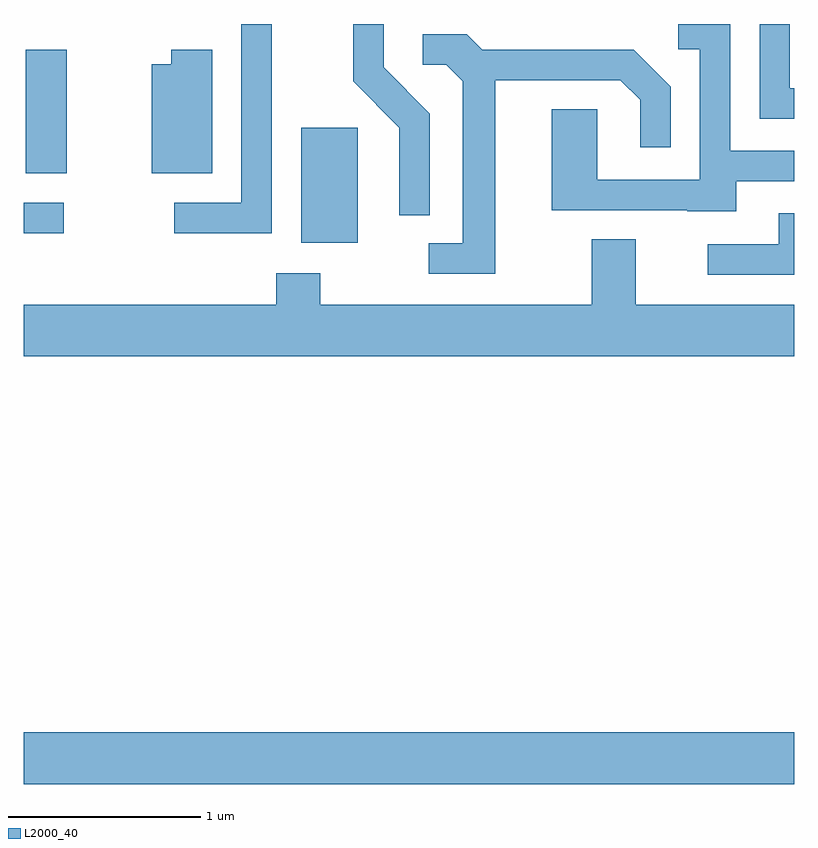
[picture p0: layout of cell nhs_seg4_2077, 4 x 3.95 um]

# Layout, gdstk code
import gdstk
lib = gdstk.Library(unit=1e-6, precision=1e-09)
def R(c, l, rs):  # rectangles x0, y0, x1, y1
    for r in rs: c.add(gdstk.rectangle(r[:2], r[2:], *l))
def P(c, l, *ps):  # polygons
    for p in ps: c.add(gdstk.Polygon(p, *l))
L2000_40 = (2000, 40)

nhs_seg4_2077 = lib.new_cell('nhs_seg4_2077')
R(nhs_seg4_2077, L2000_40, [(245.611,1328.036,249.611,1328.304), (247.051,1330.846,247.344,1331.444), (245.611,1330.896,245.818,1331.054), (245.621,1331.206,245.834,1331.849)])
P(nhs_seg4_2077, L2000_40, [(246.899,1331.982),(246.741,1331.982),(246.741,1331.054),(246.393,1331.054),(246.393,1330.896),(246.899,1330.896)],
  [(247.719,1331.517),(247.479,1331.757),(247.479,1331.982),(247.321,1331.982),(247.321,1331.684),(247.561,1331.444),(247.561,1330.988),(247.719,1330.988)],
  [(249.611,1331.649),(249.589,1331.649),(249.589,1331.982),(249.431,1331.982),(249.431,1331.491),(249.611,1331.491)],
  [(249.309,1331.166),(249.611,1331.166),(249.611,1331.324),(249.279,1331.324),(249.279,1331.982),(249.008,1331.982),(249.008,1331.851),(249.121,1331.851),(249.121,1331.174),(248.589,1331.174),(248.589,1331.539),(248.351,1331.539),(248.351,1331.016),(249.055,1331.016),(249.055,1331.011),(249.309,1331.011)],
  [(248.059,1331.691),(248.709,1331.691),(248.811,1331.589),(248.811,1331.343),(248.969,1331.343),(248.969,1331.657),(248.777,1331.849),(247.992,1331.849),(247.912,1331.929),(247.683,1331.929),(247.683,1331.771),(247.804,1331.771),(247.891,1331.684),(247.891,1330.844),(247.713,1330.844),(247.713,1330.686),(248.059,1330.686)],
  [(246.589,1331.849),(246.376,1331.849),(246.376,1331.774),(246.276,1331.774),(246.276,1331.206),(246.589,1331.206)],
  [(249.611,1330.999),(249.531,1330.999),(249.531,1330.839),(249.163,1330.839),(249.163,1330.681),(249.611,1330.681)],
  [(249.611,1330.524),(248.789,1330.524),(248.789,1330.864),(248.561,1330.864),(248.561,1330.524),(247.149,1330.524),(247.149,1330.689),(246.921,1330.689),(246.921,1330.524),(245.611,1330.524),(245.611,1330.256),(249.611,1330.256)])

lib.write_gds('nhs_seg4_2077.gds')
